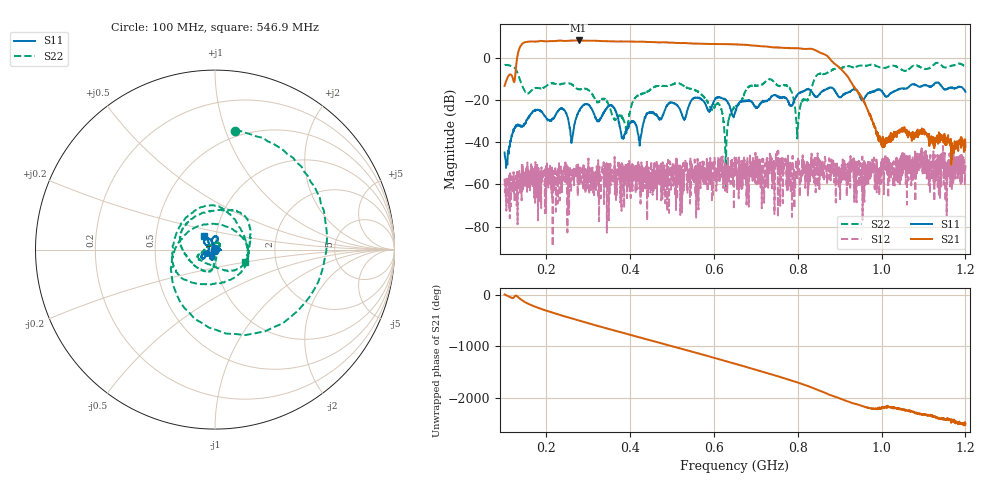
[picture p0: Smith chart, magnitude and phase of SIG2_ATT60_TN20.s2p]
# Hz S DB R 50
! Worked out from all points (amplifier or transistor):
!   1601 points, 100 MHz to 1.2 GHz, reference 50 ohm
!   highest |S21| = 8.2 dB at 276.7 MHz (marker M1)
!   |S21| within 3 dB of that: 137 MHz to 729.7 MHz (592.7 MHz wide, 137 % of centre)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
!   unconditionally stable (mu >= 1): start of sweep to end of sweep
!   at 282.9 MHz: K = 109.35, MAG = 8.3 dB, |S12| = -55.3 dB
!   at 650 MHz: K = 87.73, MAG = 6.3 dB, |S12| = -51.2 dB
!   at 1.2 GHz: K = 13534.62, MAG = -40.0 dB, |S12| = -50.8 dB
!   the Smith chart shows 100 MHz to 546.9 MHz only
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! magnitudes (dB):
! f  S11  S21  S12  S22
! 100 MHz  -44.9  -13.3  -57.3  -3.5
! 146.1 MHz  -31.4  7.2  -54.2  -14.9
! 237.5 MHz  -24.2  8.0  -53.5  -12.4
! 260.2 MHz  -39.0  8.1  -57.7  -12.6
! 276.7 MHz  -25.7  8.2  -54.5  -14.9
! 283.6 MHz  -23.6  8.1  -52.7  -14.8
! 324.1 MHz  -29.8  7.9  -66.5  -20.8
! 355.8 MHz  -22.5  7.7  -54.0  -26.7
! 390.1 MHz  -35.1  7.6  -51.9  -32.9
! 412.1 MHz  -31.4  7.6  -50.7  -18.9
! 467.1 MHz  -28.6  7.3  -60.1  -13.3
! 610.8 MHz  -18.8  6.4  -58.1  -21.9
! 628 MHz  -19.8  6.4  -55.4  -61.5
! 650 MHz  -25.9  6.3  -51.2  -23.6
! 734.6 MHz  -18.9  5.1  -46.3  -10.3
! 780.6 MHz  -22.1  4.6  -49.7  -14.4
! 799.2 MHz  -17.4  4.5  -49.1  -35.0
! 833.6 MHz  -16.3  4.2  -47.9  -13.6
! 913.3 MHz  -16.9  -7.6  -57.0  -4.2
! 996.5 MHz  -15.3  -39.8  -55.0  -4.6
! 1.017 GHz  -17.7  -39.8  -58.3  -4.2
! 1.2 GHz  -16.1  -42.3  -50.8  -4.1
